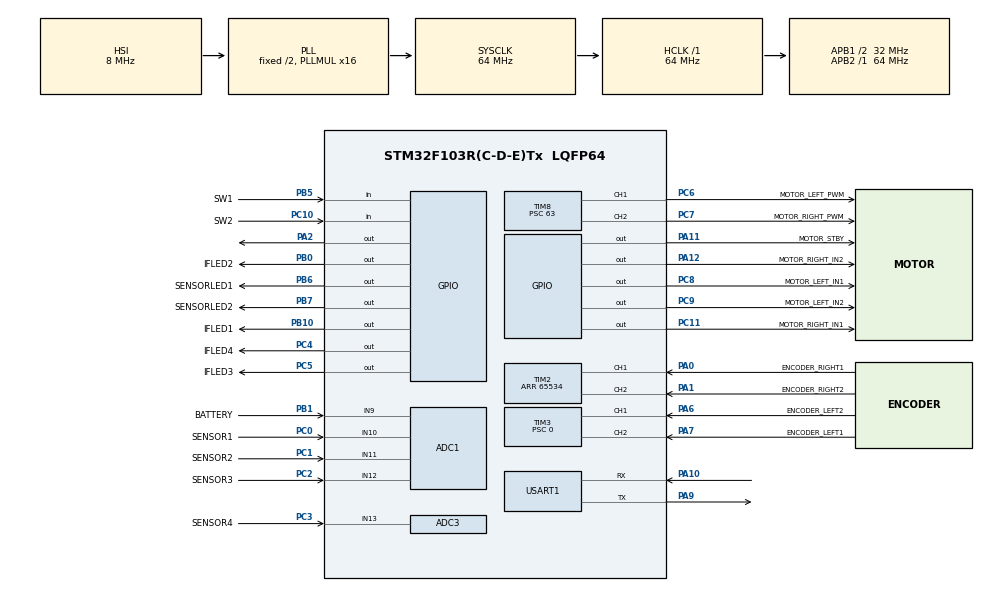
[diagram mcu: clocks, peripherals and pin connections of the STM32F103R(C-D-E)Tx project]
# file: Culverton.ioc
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ADC1.Channel-0\#ChannelRegularConversion=ADC_CHANNEL_9
ADC1.Channel-1\#ChannelRegularConversion=ADC_CHANNEL_10
ADC1.Channel-4\#ChannelRegularConversion=ADC_CHANNEL_11
ADC1.Channel-5\#ChannelRegularConversion=ADC_CHANNEL_12
ADC1.ContinuousConvMode=DISABLE
ADC1.InjNumberOfConversion=0
ADC1.NbrOfConversion=4
ADC1.NbrOfConversionFlag=1
ADC1.Rank-0\#ChannelRegularConversion=1
ADC1.Rank-1\#ChannelRegularConversion=2
ADC1.Rank-4\#ChannelRegularConversion=3
ADC1.Rank-5\#ChannelRegularConversion=4
ADC1.SamplingTime-0\#ChannelRegularConversion=ADC_SAMPLETIME_1CYCLE_5
ADC1.SamplingTime-1\#ChannelRegularConversion=ADC_SAMPLETIME_1CYCLE_5
ADC1.SamplingTime-4\#ChannelRegularConversion=ADC_SAMPLETIME_1CYCLE_5
ADC1.SamplingTime-5\#ChannelRegularConversion=ADC_SAMPLETIME_1CYCLE_5
ADC1.master=1
ADC2.Channel-0\#ChannelRegularConversion=ADC_CHANNEL_9
ADC2.NbrOfConversion=1
ADC2.NbrOfConversionFlag=1
ADC2.Rank-0\#ChannelRegularConversion=1
ADC2.SamplingTime-0\#ChannelRegularConversion=ADC_SAMPLETIME_1CYCLE_5
ADC3.Channel-0\#ChannelRegularConversion=ADC_CHANNEL_13
ADC3.NbrOfConversionFlag=1
ADC3.Rank-0\#ChannelRegularConversion=1
ADC3.SamplingTime-0\#ChannelRegularConversion=ADC_SAMPLETIME_28CYCLES_5
Mcu.Family=STM32F1
Mcu.Name=STM32F103R(C-D-E)Tx
Mcu.Package=LQFP64
NVIC.ADC1_2_IRQn=true\:0\:0\:false\:false\:true
NVIC.ADC3_IRQn=true\:0\:0\:false\:false\:true
NVIC.PriorityGroup=NVIC_PRIORITYGROUP_2
NVIC.TIM4_IRQn=true\:0\:0\:false\:false\:true
NVIC.TIM8_BRK_IRQn=true\:0\:0\:false\:false\:true
NVIC.USART1_IRQn=true\:0\:0\:false\:false\:true
PA0-WKUP.GPIO_Label=ENCODER_RIGHT1
PA0-WKUP.Signal=S_TIM2_CH1_ETR
PA1.GPIO_Label=ENCODER_RIGHT2
PA1.Signal=S_TIM2_CH2
PA10.GPIO_PuPd=GPIO_NOPULL
PA10.Mode=Asynchronous
PA10.Signal=USART1_RX
PA11.GPIO_Label=MOTOR_STBY
PA11.Signal=GPIO_Output
PA12.GPIO_Label=MOTOR_RIGHT_IN2
PA12.Signal=GPIO_Output
PA2.Signal=GPIO_Output
PA6.GPIO_Label=ENCODER_LEFT2
PA6.GPIO_PuPd=GPIO_NOPULL
PA6.Signal=S_TIM3_CH1
PA7.GPIO_Label=ENCODER_LEFT1
PA7.GPIO_PuPd=GPIO_NOPULL
PA7.Signal=S_TIM3_CH2
PA9.Mode=Asynchronous
PA9.Signal=USART1_TX
PB0.GPIO_Label=IFLED2
PB0.Signal=GPIO_Output
PB1.GPIO_Label=BATTERY
PB1.Signal=ADCx_IN9
PB10.GPIO_Label=IFLED1
PB10.Signal=GPIO_Output
PB5.GPIO_Label=SW1
PB5.Signal=GPIO_Input
PB6.GPIO_Label=SENSORLED1
PB6.Signal=GPIO_Output
PB7.GPIO_Label=SENSORLED2
PB7.Signal=GPIO_Output
PC0.GPIO_Label=SENSOR1
PC0.Signal=ADCx_IN10
PC1.GPIO_Label=SENSOR2
PC1.Signal=ADCx_IN11
PC10.GPIO_Label=SW2
PC10.Signal=GPIO_Input
PC11.GPIO_Label=MOTOR_RIGHT_IN1
PC11.Signal=GPIO_Output
PC2.GPIO_Label=SENSOR3
PC2.Signal=ADCx_IN12
PC3.GPIO_Label=SENSOR4
PC3.Signal=ADCx_IN13
PC4.GPIO_Label=IFLED4
PC4.Signal=GPIO_Output
PC5.GPIO_Label=IFLED3
PC5.Signal=GPIO_Output
PC6.GPIO_Label=MOTOR_LEFT_PWM
PC6.Signal=S_TIM8_CH1
PC7.GPIO_Label=MOTOR_RIGHT_PWM
PC7.Signal=S_TIM8_CH2
PC8.GPIO_Label=MOTOR_LEFT_IN1
PC8.Signal=GPIO_Output
PC9.GPIO_Label=MOTOR_LEFT_IN2
PC9.Signal=GPIO_Output
ProjectManager.HeapSize=0x200
ProjectManager.StackSize=0x400
ProjectManager.TargetToolchain=Makefile
RCC.ADCPresc=RCC_ADCPCLK2_DIV6
RCC.AHBFreq_Value=64000000
RCC.APB1CLKDivider=RCC_HCLK_DIV2
RCC.APB1Freq_Value=32000000
RCC.APB1TimFreq_Value=64000000
RCC.APB2Freq_Value=64000000
RCC.APB2TimFreq_Value=64000000
RCC.HCLKFreq_Value=64000000
RCC.PLLMUL=RCC_PLL_MUL16
RCC.SYSCLKFreq_VALUE=64000000
RCC.SYSCLKSource=RCC_SYSCLKSOURCE_PLLCLK
RCC.USBFreq_Value=64000000
SH.ADCx_IN10.0=ADC1_IN10,IN10
SH.ADCx_IN11.0=ADC1_IN11,IN11
SH.ADCx_IN12.0=ADC1_IN12,IN12
SH.ADCx_IN13.0=ADC3_IN13,IN13
SH.ADCx_IN9.0=ADC1_IN9,IN9
SH.ADCx_IN9.1=ADC2_IN9,IN9
SH.S_TIM2_CH1_ETR.0=TIM2_CH1,Encoder_Interface
SH.S_TIM2_CH2.0=TIM2_CH2,Encoder_Interface
SH.S_TIM3_CH1.0=TIM3_CH1,Encoder_Interface
SH.S_TIM3_CH2.0=TIM3_CH2,Encoder_Interface
SH.S_TIM8_CH1.0=TIM8_CH1,PWM Generation1 CH1
SH.S_TIM8_CH2.0=TIM8_CH2,PWM Generation2 CH2
TIM2.Period=65534
TIM3.EncoderMode=TIM_ENCODERMODE_TI12
TIM3.Period=65534
TIM3.Prescaler=0
TIM4.Period=5000
TIM4.Prescaler=63
TIM8.Channel-PWM\ Generation1\ CH1=TIM_CHANNEL_1
TIM8.Channel-PWM\ Generation2\ CH2=TIM_CHANNEL_2
TIM8.Period=999
TIM8.Prescaler=63
USART1.VirtualMode=VM_ASYNC
VP_SYS_VS_ND.Mode=No_Debug
VP_TIM4_VS_ClockSourceINT.Mode=Internal
board=Culverton

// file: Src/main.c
/**
  ******************************************************************************
  * File Name          : main.c
  * Description        : Main program body
  ******************************************************************************
  ** This notice applies to any and all portions of this file
  * that are not between comment pairs USER CODE BEGIN and
  * USER CODE END. Other portions of this file, whether
  * inserted by the user or by software development tools
  * are owned by their respective copyright owners.
  *
  * COPYRIGHT(c) 2017 STMicroelectronics
  *
  * Redistribution and use in source and binary forms, with or without
  *modification,
  * are permitted provided that the following conditions are met:
  *   1. Redistributions of source code must retain the above copyright notice,
  *      this list of conditions and the following disclaimer.
  *   2. Redistributions in binary form must reproduce the above copyright
  *notice,
  *      this list of conditions and the following disclaimer in the
  *documentation
  *      and/or other materials provided with the distribution.
  *   3. Neither the name of STMicroelectronics nor the names of its
  *contributors
  *      may be used to endorse or promote products derived from this software
  *      without specific prior written permission.
  *
  * THIS SOFTWARE IS PROVIDED BY THE COPYRIGHT HOLDERS AND CONTRIBUTORS "AS IS"
  * AND ANY EXPRESS OR IMPLIED WARRANTIES, INCLUDING, BUT NOT LIMITED TO, THE
  * IMPLIED WARRANTIES OF MERCHANTABILITY AND FITNESS FOR A PARTICULAR PURPOSE
  *ARE
  * DISCLAIMED. IN NO EVENT SHALL THE COPYRIGHT HOLDER OR CONTRIBUTORS BE LIABLE
  * FOR ANY DIRECT, INDIRECT, INCIDENTAL, SPECIAL, EXEMPLARY, OR CONSEQUENTIAL
  * DAMAGES (INCLUDING, BUT NOT LIMITED TO, PROCUREMENT OF SUBSTITUTE GOODS OR
  * SERVICES; LOSS OF USE, DATA, OR PROFITS; OR BUSINESS INTERRUPTION) HOWEVER
  * CAUSED AND ON ANY THEORY OF LIABILITY, WHETHER IN CONTRACT, STRICT
  *LIABILITY,
  * OR TORT (INCLUDING NEGLIGENCE OR OTHERWISE) ARISING IN ANY WAY OUT OF THE
  *USE
  * OF THIS SOFTWARE, EVEN IF ADVISED OF THE POSSIBILITY OF SUCH DAMAGE.
  *
  ******************************************************************************
  */
#include "main.h"
#include "stm32f1xx_hal.h"

/* USER CODE BEGIN Includes */
#include <math.h>
#include <stdbool.h>
#include <stdio.h>
#include <string.h>

/* USER CODE END Includes */

ADC_HandleTypeDef hadc1;
ADC_HandleTypeDef hadc2;
ADC_HandleTypeDef hadc3;

TIM_HandleTypeDef htim2;
TIM_HandleTypeDef htim3;
TIM_HandleTypeDef htim4;
TIM_HandleTypeDef htim8;

UART_HandleTypeDef huart1;

/* USER CODE BEGIN PV */
/* Private variables ---------------------------------------------------------*/

/* USER CODE END PV */

void SystemClock_Config(void);
static void MX_GPIO_Init(void);
static void MX_ADC1_Init(void);
static void MX_USART1_UART_Init(void);
static void MX_TIM8_Init(void);
static void MX_TIM3_Init(void);
static void MX_ADC2_Init(void);
static void MX_TIM4_Init(void);
static void MX_TIM2_Init(void);
static void MX_ADC3_Init(void);

void HAL_TIM_MspPostInit(TIM_HandleTypeDef *htim);

/* USER CODE BEGIN PFP */
/* Private function prototypes -----------------------------------------------*/

/* USER CODE END PFP */

/* USER CODE BEGIN 0 */

// -------------------------------------------------
#ifdef __GNUC__
#define PUTCHAR_PROTOTYPE int __io_putchar(int ch)
#else
#define PUTCHAR_PROTOTYPE int fputc(int ch, FILE *f)
#endif /* __GNUC__ */
void __io_putchar(uint8_t ch) { HAL_UART_Transmit(&huart1, &ch, 1, 1); }
// --------------------------------------------------

void Delay(__IO uint32_t nCount) {
  for (; nCount != 0; nCount--)
    ;
}

uint32_t GetADC1(uint32_t channel) {
  ADC_ChannelConfTypeDef sConfig;
  sConfig.Rank = 1;
  sConfig.SamplingTime = ADC_SAMPLETIME_1CYCLE_5;
  sConfig.Channel = channel;
  if (HAL_ADC_ConfigChannel(&hadc1, &sConfig) != HAL_OK) {
    return 0xffff;
  }
  uint32_t adcValue;
  HAL_ADC_Start(&hadc1);
  while (HAL_ADC_PollForConversion(&hadc1, 10) != HAL_OK)
    ;
  adcValue = HAL_ADC_GetValue(&hadc1);
  return adcValue;
}

uint32_t GetADC2(uint32_t channel) {
  ADC_ChannelConfTypeDef sConfig;
  sConfig.Rank = 1;
  sConfig.SamplingTime = ADC_SAMPLETIME_1CYCLE_5;
  sConfig.Channel = channel;
  if (HAL_ADC_ConfigChannel(&hadc2, &sConfig) != HAL_OK) {
    return 0;
  }
  uint32_t adcValue;
  HAL_ADC_Start(&hadc2);
  while (HAL_ADC_PollForConversion(&hadc2, 10) != HAL_OK)
    ;
  adcValue = HAL_ADC_GetValue(&hadc2);
  return adcValue;
}

void start_tim8_pwm(uint32_t channel, uint32_t pulse) {
  TIM_OC_InitTypeDef sConfigOC;
  sConfigOC.OCMode = TIM_OCMODE_PWM1;
  sConfigOC.Pulse = pulse;
  sConfigOC.OCPolarity = TIM_OCPOLARITY_HIGH;
  sConfigOC.OCNPolarity = TIM_OCNPOLARITY_HIGH;
  sConfigOC.OCFastMode = TIM_OCFAST_DISABLE;
  sConfigOC.OCIdleState = TIM_OCIDLESTATE_RESET;
  sConfigOC.OCNIdleState = TIM_OCNIDLESTATE_RESET;
  if (HAL_TIM_PWM_ConfigChannel(&htim8, &sConfigOC, channel) != HAL_OK) {
    Error_Handler();
  }
  if (HAL_TIM_PWM_Start(&htim8, channel) != HAL_OK) {
    Error_Handler();
  }
}

// --- MOTOR FUNCTION ---

void Update_RightMotor_PWM(int pulse) { start_tim8_pwm(TIM_CHANNEL_2, pulse); }
void Update_LeftMotor_PWM(int pulse) { start_tim8_pwm(TIM_CHANNEL_1, pulse); }

void Stop_RightMotor_PWM() { HAL_TIM_PWM_Stop(&htim8, TIM_CHANNEL_2); }

void Stop_LeftMotor_PWM() { HAL_TIM_PWM_Stop(&htim8, TIM_CHANNEL_1); }

void Turn_Around_RightMotor() {
  HAL_GPIO_TogglePin(MOTOR_RIGHT_IN1_GPIO_Port, MOTOR_RIGHT_IN1_Pin);
  HAL_GPIO_TogglePin(MOTOR_RIGHT_IN2_GPIO_Port, MOTOR_RIGHT_IN2_Pin);
}

void Turn_Around_LeftMotor() {
  HAL_GPIO_TogglePin(MOTOR_LEFT_IN1_GPIO_Port, MOTOR_LEFT_IN1_Pin);
  HAL_GPIO_TogglePin(MOTOR_LEFT_IN2_GPIO_Port, MOTOR_LEFT_IN2_Pin);
}

void setMotorMode() {
  HAL_GPIO_WritePin(MOTOR_STBY_GPIO_Port, MOTOR_STBY_Pin, GPIO_PIN_SET);
  HAL_GPIO_WritePin(MOTOR_RIGHT_IN1_GPIO_Port, MOTOR_RIGHT_IN1_Pin, GPIO_PIN_RESET);
  HAL_GPIO_WritePin(MOTOR_RIGHT_IN2_GPIO_Port, MOTOR_RIGHT_IN2_Pin, GPIO_PIN_SET);
  HAL_GPIO_WritePin(MOTOR_LEFT_IN1_GPIO_Port, MOTOR_LEFT_IN1_Pin, GPIO_PIN_SET);
  HAL_GPIO_WritePin(MOTOR_LEFT_IN2_GPIO_Port, MOTOR_LEFT_IN2_Pin, GPIO_PIN_RESET);
}

void unsetMotorMode() {
  // STBY -> OFF
  HAL_GPIO_WritePin(MOTOR_STBY_GPIO_Port, MOTOR_STBY_Pin, GPIO_PIN_RESET);
  HAL_GPIO_WritePin(MOTOR_RIGHT_IN1_GPIO_Port, MOTOR_RIGHT_IN1_Pin, GPIO_PIN_RESET);
  HAL_GPIO_WritePin(MOTOR_RIGHT_IN2_GPIO_Port, MOTOR_RIGHT_IN2_Pin, GPIO_PIN_RESET);
  HAL_GPIO_WritePin(MOTOR_LEFT_IN1_GPIO_Port, MOTOR_LEFT_IN1_Pin, GPIO_PIN_RESET);
  HAL_GPIO_WritePin(MOTOR_LEFT_IN2_GPIO_Port, MOTOR_LEFT_IN2_Pin, GPIO_PIN_RESET);
}

// ------------- ENCODER FUNCTIONS -----------------

uint32_t GetRightMotorEncoderValue() { return TIM2->CNT; }

uint32_t GetLeftMotorEncoderValue() { return TIM3->CNT; }

// ------------- LED Lighting ---------------------

void LightLEDforMode(int mode) {
  GPIO_TypeDef *ports[4] = {IFLED1_GPIO_Port, IFLED2_GPIO_Port, IFLED3_GPIO_Port, IFLED4_GPIO_Port};
  uint16_t pins[4] = {IFLED1_Pin, IFLED2_Pin, IFLED3_Pin, IFLED4_Pin};
  GPIO_PinState pinstates[4] = {GPIO_PIN_RESET, GPIO_PIN_RESET, GPIO_PIN_RESET, GPIO_PIN_RESET};
  if (mode > -1 && mode < 4) {
    pinstates[mode] = GPIO_PIN_SET;
  }
  for (int i = 0; i < 4; i++) {
    HAL_GPIO_WritePin(ports[i], pins[i], pinstates[i]);
  }
}

// Global Variables
uint32_t sensor[4] = {0};
uint32_t sensor_h[4] = {0}, sensor_l[4] = {0};
uint32_t encoder_r, encoder_l, oldencoder_r = 0, oldencoder_l = 0;
float r_speed, l_speed;
uint32_t target_value_r = 0, target_value_l = 0;
uint32_t current_value_r = 0, current_value_l = 0;
uint32_t base_value_r = 0, base_value_l = 0;
bool is_runnning = false;
uint32_t battery_value;
const int WALL_VALUE = 1500;
/* USER CODE END 0 */

int main(void) {

  /* MCU
   * Configuration----------------------------------------------------------*/

  /* Reset of all peripherals, Initializes the Flash interface and the Systick.
   */
  HAL_Init();

  /* Configure the system clock */
  SystemClock_Config();

  /* Initialize all configured peripherals */
  MX_GPIO_Init();
  MX_ADC1_Init();
  MX_USART1_UART_Init();
  MX_TIM8_Init();
  MX_TIM3_Init();
  MX_ADC2_Init();
  MX_TIM4_Init();
  MX_TIM2_Init();
  MX_ADC3_Init();

  /* USER CODE BEGIN 2 */
  // Encoder Start
  if (HAL_TIM_Encoder_Start(&htim2, TIM_CHANNEL_ALL) != HAL_OK) {
    Error_Handler();
  }
  if (HAL_TIM_Encoder_Start(&htim3, TIM_CHANNEL_ALL) != HAL_OK) {
    Error_Handler();
  }
  // Unset motors
  unsetMotorMode();
  /* USER CODE END 2 */

  /* Infinite loop */
  /* USER CODE BEGIN WHILE */
  GPIO_PinState oldState = GPIO_PIN_RESET, state;
  int mode = 0;
  char str[1000];
  while (1) {
    /* USER CODE END WHILE */

    /* USER CODE BEGIN 3 */
    // Mode Switch
    state = HAL_GPIO_ReadPin(SW1_GPIO_Port, SW1_Pin);
    if (state == GPIO_PIN_SET && oldState == GPIO_PIN_RESET) {
      mode++;
    }
    oldState = state;

    LightLEDforMode(mode % 4);
    switch (mode % 4) {
      // Step Mode
      case 0:
        HAL_TIM_Base_Stop_IT(&htim4);
        break;
      // Sensor Mode
      case 1:
        if (HAL_TIM_Base_GetState(&htim4) != HAL_TIM_STATE_BUSY) {
          HAL_TIM_Base_Start_IT(&htim4);
        }
        HAL_Delay(100);
        sprintf(str, "%ld,%ld\n", sensor[2], sensor[3]);
        HAL_UART_Transmit(&huart1, (uint8_t *)str, strlen(str), -1);
        break;
      // RUN Mode
      case 2:
        setMotorMode();
        Turn_Around_RightMotor();
        // Start
        if (!is_runnning) {
          HAL_Delay(3000);
          target_value_r = 150;
          target_value_l = 150;
          is_runnning = true;
        }
        //float para = (float)(sensor[2] - 200 - sensor[3]) /10.0F;
        float para = ((float)sensor[2] - 200.0F) / 25.0F - (float)sensor[3] / 25.0F;
        sprintf(str, "%f\n", para);
        HAL_UART_Transmit(&huart1, (uint8_t *)str, strlen(str), -1);

        target_value_r = 150 + para;
        target_value_l = 150 - para;
        /*
        sprintf(str,"%ld\n",sensor[3] - sensor[2]);
        HAL_UART_Transmit(&huart1, (uint8_t *)str, strlen(str), -1);
        */

        //HAL_Delay(100);
        sprintf(str, "SENSOR:%ld,%ld\n", sensor[2], sensor[3]);
        HAL_UART_Transmit(&huart1, (uint8_t *)str, strlen(str), -1);
        sprintf(str, "TARGET:%ld,%ld\n", target_value_r, target_value_l);
        HAL_UART_Transmit(&huart1, (uint8_t *)str, strlen(str), -1);
        /*
        sprintf(str, "%ld,%ld\n", encoder_r, encoder_l);
        HAL_UART_Transmit(&huart1, (uint8_t *)str, strlen(str), -1);
        */
        if (sensor[2] > WALL_VALUE && sensor[3] > WALL_VALUE) {
          mode++;
        }
        break;
      case 3:
        target_value_r = 0;
        target_value_l = 0;
        current_value_r = 0;
        current_value_l = 0;
        base_value_r = 0;
        base_value_l = 0;
        is_runnning = false;
        Stop_RightMotor_PWM();
        Stop_LeftMotor_PWM();
        unsetMotorMode();
        break;
    }
  }
  /* USER CODE END 3 */
}

/** System Clock Configuration
*/
void SystemClock_Config(void) {
  RCC_OscInitTypeDef RCC_OscInitStruct;
  RCC_ClkInitTypeDef RCC_ClkInitStruct;
  RCC_PeriphCLKInitTypeDef PeriphClkInit;

  /**Initializes the CPU, AHB and APB busses clocks
  */
  RCC_OscInitStruct.OscillatorType = RCC_OSCILLATORTYPE_HSI;
  RCC_OscInitStruct.HSIState = RCC_HSI_ON;
  RCC_OscInitStruct.HSICalibrationValue = 16;
  RCC_OscInitStruct.PLL.PLLState = RCC_PLL_ON;
  RCC_OscInitStruct.PLL.PLLSource = RCC_PLLSOURCE_HSI_DIV2;
  RCC_OscInitStruct.PLL.PLLMUL = RCC_PLL_MUL16;
  if (HAL_RCC_OscConfig(&RCC_OscInitStruct) != HAL_OK) {
    _Error_Handler(__FILE__, __LINE__);
  }

  /**Initializes the CPU, AHB and APB busses clocks
  */
  RCC_ClkInitStruct.ClockType = RCC_CLOCKTYPE_HCLK | RCC_CLOCKTYPE_SYSCLK | RCC_CLOCKTYPE_PCLK1 | RCC_CLOCKTYPE_PCLK2;
  RCC_ClkInitStruct.SYSCLKSource = RCC_SYSCLKSOURCE_PLLCLK;
  RCC_ClkInitStruct.AHBCLKDivider = RCC_SYSCLK_DIV1;
  RCC_ClkInitStruct.APB1CLKDivider = RCC_HCLK_DIV2;
  RCC_ClkInitStruct.APB2CLKDivider = RCC_HCLK_DIV1;

  if (HAL_RCC_ClockConfig(&RCC_ClkInitStruct, FLASH_LATENCY_2) != HAL_OK) {
    _Error_Handler(__FILE__, __LINE__);
  }

  PeriphClkInit.PeriphClockSelection = RCC_PERIPHCLK_ADC;
  PeriphClkInit.AdcClockSelection = RCC_ADCPCLK2_DIV6;
  if (HAL_RCCEx_PeriphCLKConfig(&PeriphClkInit) != HAL_OK) {
    _Error_Handler(__FILE__, __LINE__);
  }

  /**Configure the Systick interrupt time
  */
  HAL_SYSTICK_Config(HAL_RCC_GetHCLKFreq() / 1000);

  /**Configure the Systick
  */
  HAL_SYSTICK_CLKSourceConfig(SYSTICK_CLKSOURCE_HCLK);

  /* SysTick_IRQn interrupt configuration */
  HAL_NVIC_SetPriority(SysTick_IRQn, 0, 0);
}

/* ADC1 init function */
static void MX_ADC1_Init(void) {
  ADC_ChannelConfTypeDef sConfig;

  /**Common config
  */
  hadc1.Instance = ADC1;
  hadc1.Init.ScanConvMode = ADC_SCAN_ENABLE;
  hadc1.Init.ContinuousConvMode = DISABLE;
  hadc1.Init.DiscontinuousConvMode = DISABLE;
  hadc1.Init.ExternalTrigConv = ADC_SOFTWARE_START;
  hadc1.Init.DataAlign = ADC_DATAALIGN_RIGHT;
  hadc1.Init.NbrOfConversion = 4;
  if (HAL_ADC_Init(&hadc1) != HAL_OK) {
    _Error_Handler(__FILE__, __LINE__);
  }

  /**Configure Regular Channel
  */
  sConfig.Channel = ADC_CHANNEL_9;
  sConfig.Rank = 1;
  sConfig.SamplingTime = ADC_SAMPLETIME_1CYCLE_5;
  if (HAL_ADC_ConfigChannel(&hadc1, &sConfig) != HAL_OK) {
    _Error_Handler(__FILE__, __LINE__);
  }

  /**Configure Regular Channel
  */
  sConfig.Channel = ADC_CHANNEL_10;
  sConfig.Rank = 2;
  if (HAL_ADC_ConfigChannel(&hadc1, &sConfig) != HAL_OK) {
    _Error_Handler(__FILE__, __LINE__);
  }

  /**Configure Regular Channel
  */
  sConfig.Channel = ADC_CHANNEL_11;
  sConfig.Rank = 3;
  if (HAL_ADC_ConfigChannel(&hadc1, &sConfig) != HAL_OK) {
    _Error_Handler(__FILE__, __LINE__);
  }

  /**Configure Regular Channel
  */
  sConfig.Channel = ADC_CHANNEL_12;
  sConfig.Rank = 4;
  if (HAL_ADC_ConfigChannel(&hadc1, &sConfig) != HAL_OK) {
    _Error_Handler(__FILE__, __LINE__);
  }
}

/* ADC2 init function */
static void MX_ADC2_Init(void) {
  ADC_ChannelConfTypeDef sConfig;

  /**Common config
  */
  hadc2.Instance = ADC2;
  hadc2.Init.ScanConvMode = ADC_SCAN_DISABLE;
  hadc2.Init.ContinuousConvMode = DISABLE;
  hadc2.Init.DiscontinuousConvMode = DISABLE;
  hadc2.Init.ExternalTrigConv = ADC_SOFTWARE_START;
  hadc2.Init.DataAlign = ADC_DATAALIGN_RIGHT;
  hadc2.Init.NbrOfConversion = 1;
  if (HAL_ADC_Init(&hadc2) != HAL_OK) {
    _Error_Handler(__FILE__, __LINE__);
  }

  /**Configure Regular Channel
  */
  sConfig.Channel = ADC_CHANNEL_9;
  sConfig.Rank = 1;
  sConfig.SamplingTime = ADC_SAMPLETIME_1CYCLE_5;
  if (HAL_ADC_ConfigChannel(&hadc2, &sConfig) != HAL_OK) {
    _Error_Handler(__FILE__, __LINE__);
  }
}

/* ADC3 init function */
static void MX_ADC3_Init(void) {
  ADC_ChannelConfTypeDef sConfig;

  /**Common config
  */
  hadc3.Instance = ADC3;
  hadc3.Init.ScanConvMode = ADC_SCAN_DISABLE;
  hadc3.Init.ContinuousConvMode = DISABLE;
  hadc3.Init.DiscontinuousConvMode = DISABLE;
  hadc3.Init.ExternalTrigConv = ADC_SOFTWARE_START;
  hadc3.Init.DataAlign = ADC_DATAALIGN_RIGHT;
  hadc3.Init.NbrOfConversion = 1;
  if (HAL_ADC_Init(&hadc3) != HAL_OK) {
    _Error_Handler(__FILE__, __LINE__);
  }

  /**Configure Regular Channel
  */
  sConfig.Channel = ADC_CHANNEL_13;
  sConfig.Rank = 1;
  sConfig.SamplingTime = ADC_SAMPLETIME_28CYCLES_5;
  if (HAL_ADC_ConfigChannel(&hadc3, &sConfig) != HAL_OK) {
    _Error_Handler(__FILE__, __LINE__);
  }
}

/* TIM2 init function */
static void MX_TIM2_Init(void) {
  TIM_Encoder_InitTypeDef sConfig;
  TIM_MasterConfigTypeDef sMasterConfig;

  htim2.Instance = TIM2;
  htim2.Init.Prescaler = 0;
  htim2.Init.CounterMode = TIM_COUNTERMODE_UP;
  htim2.Init.Period = 65534;
  htim2.Init.ClockDivision = TIM_CLOCKDIVISION_DIV1;
  sConfig.EncoderMode = TIM_ENCODERMODE_TI1;
  sConfig.IC1Polarity = TIM_ICPOLARITY_RISING;
  sConfig.IC1Selection = TIM_ICSELECTION_DIRECTTI;
  sConfig.IC1Prescaler = TIM_ICPSC_DIV1;
  sConfig.IC1Filter = 0;
  sConfig.IC2Polarity = TIM_ICPOLARITY_RISING;
  sConfig.IC2Selection = TIM_ICSELECTION_DIRECTTI;
  sConfig.IC2Prescaler = TIM_ICPSC_DIV1;
  sConfig.IC2Filter = 0;
  if (HAL_TIM_Encoder_Init(&htim2, &sConfig) != HAL_OK) {
    _Error_Handler(__FILE__, __LINE__);
  }

  sMasterConfig.MasterOutputTrigger = TIM_TRGO_RESET;
  sMasterConfig.MasterSlaveMode = TIM_MASTERSLAVEMODE_DISABLE;
  if (HAL_TIMEx_MasterConfigSynchronization(&htim2, &sMasterConfig) != HAL_OK) {
    _Error_Handler(__FILE__, __LINE__);
  }
}

/* TIM3 init function */
static void MX_TIM3_Init(void) {
  TIM_Encoder_InitTypeDef sConfig;
  TIM_MasterConfigTypeDef sMasterConfig;

  htim3.Instance = TIM3;
  htim3.Init.Prescaler = 0;
  htim3.Init.CounterMode = TIM_COUNTERMODE_UP;
  htim3.Init.Period = 65534;
  htim3.Init.ClockDivision = TIM_CLOCKDIVISION_DIV1;
  sConfig.EncoderMode = TIM_ENCODERMODE_TI12;
  sConfig.IC1Polarity = TIM_ICPOLARITY_RISING;
  sConfig.IC1Selection = TIM_ICSELECTION_DIRECTTI;
  sConfig.IC1Prescaler = TIM_ICPSC_DIV1;
  sConfig.IC1Filter = 0;
  sConfig.IC2Polarity = TIM_ICPOLARITY_RISING;
  sConfig.IC2Selection = TIM_ICSELECTION_DIRECTTI;
  sConfig.IC2Prescaler = TIM_ICPSC_DIV1;
  sConfig.IC2Filter = 0;
  if (HAL_TIM_Encoder_Init(&htim3, &sConfig) != HAL_OK) {
    _Error_Handler(__FILE__, __LINE__);
  }

  sMasterConfig.MasterOutputTrigger = TIM_TRGO_RESET;
  sMasterConfig.MasterSlaveMode = TIM_MASTERSLAVEMODE_DISABLE;
  if (HAL_TIMEx_MasterConfigSynchronization(&htim3, &sMasterConfig) != HAL_OK) {
    _Error_Handler(__FILE__, __LINE__);
  }
}

/* TIM4 init function */
static void MX_TIM4_Init(void) {
  TIM_ClockConfigTypeDef sClockSourceConfig;
  TIM_MasterConfigTypeDef sMasterConfig;

  htim4.Instance = TIM4;
  htim4.Init.Prescaler = 63;
  htim4.Init.CounterMode = TIM_COUNTERMODE_UP;
  htim4.Init.Period = 5000;
  htim4.Init.ClockDivision = TIM_CLOCKDIVISION_DIV1;
  if (HAL_TIM_Base_Init(&htim4) != HAL_OK) {
    _Error_Handler(__FILE__, __LINE__);
  }

  sClockSourceConfig.ClockSource = TIM_CLOCKSOURCE_INTERNAL;
  if (HAL_TIM_ConfigClockSource(&htim4, &sClockSourceConfig) != HAL_OK) {
    _Error_Handler(__FILE__, __LINE__);
  }

  sMasterConfig.MasterOutputTrigger = TIM_TRGO_RESET;
  sMasterConfig.MasterSlaveMode = TIM_MASTERSLAVEMODE_DISABLE;
  if (HAL_TIMEx_MasterConfigSynchronization(&htim4, &sMasterConfig) != HAL_OK) {
    _Error_Handler(__FILE__, __LINE__);
  }
}

/* TIM8 init function */
static void MX_TIM8_Init(void) {
  TIM_MasterConfigTypeDef sMasterConfig;
  TIM_OC_InitTypeDef sConfigOC;
  TIM_BreakDeadTimeConfigTypeDef sBreakDeadTimeConfig;

  htim8.Instance = TIM8;
  htim8.Init.Prescaler = 63;
  htim8.Init.CounterMode = TIM_COUNTERMODE_UP;
  htim8.Init.Period = 999;
  htim8.Init.ClockDivision = TIM_CLOCKDIVISION_DIV1;
  htim8.Init.RepetitionCounter = 0;
  if (HAL_TIM_PWM_Init(&htim8) != HAL_OK) {
    _Error_Handler(__FILE__, __LINE__);
  }

  sMasterConfig.MasterOutputTrigger = TIM_TRGO_RESET;
  sMasterConfig.MasterSlaveMode = TIM_MASTERSLAVEMODE_DISABLE;
  if (HAL_TIMEx_MasterConfigSynchronization(&htim8, &sMasterConfig) != HAL_OK) {
    _Error_Handler(__FILE__, __LINE__);
  }

  sConfigOC.OCMode = TIM_OCMODE_PWM1;
  sConfigOC.Pulse = 0;
  sConfigOC.OCPolarity = TIM_OCPOLARITY_HIGH;
  sConfigOC.OCNPolarity = TIM_OCNPOLARITY_HIGH;
  sConfigOC.OCFastMode = TIM_OCFAST_DISABLE;
  sConfigOC.OCIdleState = TIM_OCIDLESTATE_RESET;
  sConfigOC.OCNIdleState = TIM_OCNIDLESTATE_RESET;
  if (HAL_TIM_PWM_ConfigChannel(&htim8, &sConfigOC, TIM_CHANNEL_1) != HAL_OK) {
    _Error_Handler(__FILE__, __LINE__);
  }

  if (HAL_TIM_PWM_ConfigChannel(&htim8, &sConfigOC, TIM_CHANNEL_2) != HAL_OK) {
    _Error_Handler(__FILE__, __LINE__);
  }

  sBreakDeadTimeConfig.OffStateRunMode = TIM_OSSR_DISABLE;
  sBreakDeadTimeConfig.OffStateIDLEMode = TIM_OSSI_DISABLE;
  sBreakDeadTimeConfig.LockLevel = TIM_LOCKLEVEL_OFF;
  sBreakDeadTimeConfig.DeadTime = 0;
  sBreakDeadTimeConfig.BreakState = TIM_BREAK_DISABLE;
  sBreakDeadTimeConfig.BreakPolarity = TIM_BREAKPOLARITY_HIGH;
  sBreakDeadTimeConfig.AutomaticOutput = TIM_AUTOMATICOUTPUT_DISABLE;
  if (HAL_TIMEx_ConfigBreakDeadTime(&htim8, &sBreakDeadTimeConfig) != HAL_OK) {
    _Error_Handler(__FILE__, __LINE__);
  }

  HAL_TIM_MspPostInit(&htim8);
}

/* USART1 init function */
static void MX_USART1_UART_Init(void) {
  huart1.Instance = USART1;
  huart1.Init.BaudRate = 115200;
  huart1.Init.WordLength = UART_WORDLENGTH_8B;
  huart1.Init.StopBits = UART_STOPBITS_1;
  huart1.Init.Parity = UART_PARITY_NONE;
  huart1.Init.Mode = UART_MODE_TX_RX;
  huart1.Init.HwFlowCtl = UART_HWCONTROL_NONE;
  huart1.Init.OverSampling = UART_OVERSAMPLING_16;
  if (HAL_UART_Init(&huart1) != HAL_OK) {
    _Error_Handler(__FILE__, __LINE__);
  }
}

/** Configure pins as
        * Analog
        * Input
        * Output
        * EVENT_OUT
        * EXTI
*/
static void MX_GPIO_Init(void) {
  GPIO_InitTypeDef GPIO_InitStruct;

  /* GPIO Ports Clock Enable */
  __HAL_RCC_GPIOC_CLK_ENABLE();
  __HAL_RCC_GPIOA_CLK_ENABLE();
  __HAL_RCC_GPIOB_CLK_ENABLE();

  /*Configure GPIO pin Output Level */
  HAL_GPIO_WritePin(GPIOA, GPIO_PIN_2 | MOTOR_STBY_Pin | MOTOR_RIGHT_IN2_Pin, GPIO_PIN_RESET);

  /*Configure GPIO pin Output Level */
  HAL_GPIO_WritePin(GPIOC, IFLED4_Pin | IFLED3_Pin | MOTOR_LEFT_IN1_Pin | MOTOR_LEFT_IN2_Pin | MOTOR_RIGHT_IN1_Pin, GPIO_PIN_RESET);

  /*Configure GPIO pin Output Level */
  HAL_GPIO_WritePin(GPIOB, IFLED2_Pin | IFLED1_Pin | SENSORLED1_Pin | SENSORLED2_Pin, GPIO_PIN_RESET);

  /*Configure GPIO pins : PA2 MOTOR_STBY_Pin MOTOR_RIGHT_IN2_Pin */
  GPIO_InitStruct.Pin = GPIO_PIN_2 | MOTOR_STBY_Pin | MOTOR_RIGHT_IN2_Pin;
  GPIO_InitStruct.Mode = GPIO_MODE_OUTPUT_PP;
  GPIO_InitStruct.Speed = GPIO_SPEED_FREQ_LOW;
  HAL_GPIO_Init(GPIOA, &GPIO_InitStruct);

  /*Configure GPIO pins : IFLED4_Pin IFLED3_Pin MOTOR_LEFT_IN1_Pin
     MOTOR_LEFT_IN2_Pin
                           MOTOR_RIGHT_IN1_Pin */
  GPIO_InitStruct.Pin = IFLED4_Pin | IFLED3_Pin | MOTOR_LEFT_IN1_Pin | MOTOR_LEFT_IN2_Pin | MOTOR_RIGHT_IN1_Pin;
  GPIO_InitStruct.Mode = GPIO_MODE_OUTPUT_PP;
  GPIO_InitStruct.Speed = GPIO_SPEED_FREQ_LOW;
  HAL_GPIO_Init(GPIOC, &GPIO_InitStruct);

  /*Configure GPIO pins : IFLED2_Pin IFLED1_Pin SENSORLED1_Pin SENSORLED2_Pin */
  GPIO_InitStruct.Pin = IFLED2_Pin | IFLED1_Pin | SENSORLED1_Pin | SENSORLED2_Pin;
  GPIO_InitStruct.Mode = GPIO_MODE_OUTPUT_PP;
  GPIO_InitStruct.Speed = GPIO_SPEED_FREQ_LOW;
  HAL_GPIO_Init(GPIOB, &GPIO_InitStruct);

  /*Configure GPIO pin : SW2_Pin */
  GPIO_InitStruct.Pin = SW2_Pin;
  GPIO_InitStruct.Mode = GPIO_MODE_INPUT;
  GPIO_InitStruct.Pull = GPIO_NOPULL;
  HAL_GPIO_Init(SW2_GPIO_Port, &GPIO_InitStruct);

  /*Configure GPIO pin : SW1_Pin */
  GPIO_InitStruct.Pin = SW1_Pin;
  GPIO_InitStruct.Mode = GPIO_MODE_INPUT;
  GPIO_InitStruct.Pull = GPIO_NOPULL;
  HAL_GPIO_Init(SW1_GPIO_Port, &GPIO_InitStruct);
}

/* USER CODE BEGIN 4 */

void HAL_TIM_PeriodElapsedCallback(TIM_HandleTypeDef *htim) {
  if (htim->Instance == htim4.Instance) {
    // outside Sensors
    HAL_GPIO_WritePin(SENSORLED2_GPIO_Port, SENSORLED2_Pin, GPIO_PIN_SET);
    Delay(1000);
    sensor_h[2] = GetADC1(ADC_CHANNEL_12);
    Delay(1000);
    sensor_h[3] = GetADC2(ADC_CHANNEL_13);
    HAL_GPIO_WritePin(SENSORLED2_GPIO_Port, SENSORLED2_Pin, GPIO_PIN_RESET);
    Delay(1000);
    sensor_l[2] = GetADC1(ADC_CHANNEL_12);
    Delay(1000);
    sensor_l[3] = GetADC2(ADC_CHANNEL_13);

    // Center Sensors
    HAL_GPIO_WritePin(SENSORLED1_GPIO_Port, SENSORLED1_Pin, GPIO_PIN_SET);
    Delay(1000);
    sensor_h[0] = GetADC1(ADC_CHANNEL_10);
    Delay(1000);
    sensor_h[1] = GetADC1(ADC_CHANNEL_11);
    HAL_GPIO_WritePin(SENSORLED1_GPIO_Port, SENSORLED1_Pin, GPIO_PIN_RESET);
    Delay(1000);
    sensor_l[0] = GetADC1(ADC_CHANNEL_10);
    Delay(1000);
    sensor_l[1] = GetADC1(ADC_CHANNEL_11);
    for (int i = 0; i < 4; i++) {
      sensor[i] = sensor_h[i] - sensor_l[i];
    }
    encoder_r = GetRightMotorEncoderValue();
    encoder_l = GetLeftMotorEncoderValue();
    if (target_value_r > current_value_r) {
      current_value_r = current_value_r + (target_value_r - base_value_r) / 5;
      Update_RightMotor_PWM(target_value_r);
    } else {
      base_value_r = current_value_r;
    }
    if (target_value_l > current_value_l) {
      current_value_l = current_value_l + (target_value_l - base_value_l) / 5;
      Update_LeftMotor_PWM(target_value_l);
    } else {
      base_value_l = current_value_l;
    }
    /*
    battery_value = GetADC2(ADC_CHANNEL_9);
    Delay(1000);
    */
  }
}

/* USER CODE END 4 */

void _Error_Handler(char *file, int line) {
  while (1) {
  }
}

#ifdef USE_FULL_ASSERT

/**
   * @brief Reports the name of the source file and the source line number
   * where the assert_param error has occurred.
   * @param file: pointer to the source file name
   * @param line: assert_param error line source number
   * @retval None
   */
void assert_failed(uint8_t *file, uint32_t line) {
  /* USER CODE BEGIN 6 */
  /* User can add his own implementation to report the file name and line
    number,
    ex: printf("Wrong parameters value: file %s on line %d\r\n", file, line) */
  /* USER CODE END 6 */
}

#endif

/************************ (C) COPYRIGHT STMicroelectronics *****END OF FILE****/
